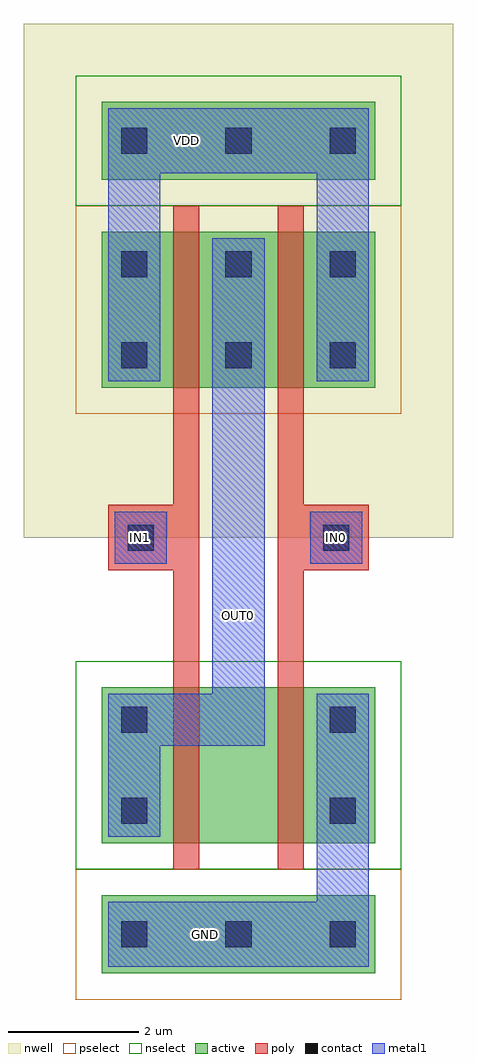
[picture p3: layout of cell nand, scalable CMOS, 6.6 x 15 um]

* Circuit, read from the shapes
.subckt nand GND IN0 IN1 OUT0 VDD
M1 n1 IN1 OUT0 GND nfet w=2.4u l=0.4u
M2 GND IN0 n1 GND nfet w=2.4u l=0.4u
M3 OUT0 IN1 VDD VDD pfet w=2.4u l=0.4u
M4 VDD IN0 OUT0 VDD pfet w=2.4u l=0.4u
.ends

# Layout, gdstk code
import gdstk
lib = gdstk.Library(unit=1e-6, precision=1e-09)
def R(c, l, rs):  # rectangles x0, y0, x1, y1
    for r in rs: c.add(gdstk.rectangle(r[:2], r[2:], *l))
def A(c, l, x, y, w, h, nx, ny, dx, dy):  # array of equal rectangles
    R(c, l, [(x+i*dx, y+j*dy, x+i*dx+w, y+j*dy+h) for i in range(nx) for j in range(ny)])
contact = (25, 0)
nwell = (42, 0)
active = (43, 0)
pselect = (44, 0)
nselect = (45, 0)
poly = (46, 0)
metal1 = (49, 0)

nand = lib.new_cell('nand')
A(nand, contact, -0.3, 2.2, 0.4, 0.4, 3, 2, 1.6, 1.4)
R(nand, contact, [(-0.3,-6.7,0.1,-6.3), (1.3,-6.7,1.7,-6.3), (1.3,-6.7,1.7,-6.3), (2.9,-6.7,3.3,-6.3), (-0.3,-4.8,0.1,-4.4), (2.9,-4.8,3.3,-4.4), (-0.3,-3.4,0.1,-3), (2.9,-3.4,3.3,-3), (-0.2,-0.6,0.2,-0.2), (2.8,-0.6,3.2,-0.2), (-0.3,5.5,0.1,5.9), (1.3,5.5,1.7,5.9), (1.3,5.5,1.7,5.9), (2.9,5.5,3.3,5.9)])
R(nand, nwell, [(-1.8,-0.4,3.2,7.5), (-0.2,-0.4,4.8,7.5)])
R(nand, active, [(-0.6,-7.1,2,-5.9), (1,-7.1,3.6,-5.9), (-0.6,-5.1,3.6,-2.7), (-0.6,1.9,2,4.3), (-0.6,1.9,2,4.3), (1,1.9,3.6,4.3), (-0.6,5.1,2,6.3), (1,5.1,3.6,6.3)])
R(nand, pselect, [(-1,-7.5,2.4,-5.5), (0.6,-7.5,4,-5.5), (-1,1.5,2.4,4.7), (0.6,1.5,4,4.7)])
R(nand, nselect, [(-1,-5.5,4,-2.3), (-1,4.7,2.4,6.7), (0.6,4.7,4,6.7)])
R(nand, poly, [(0.5,-5.5,0.9,-2.2), (2.1,-5.5,2.5,-2.2), (0.5,-2.2,0.9,1.5), (2.1,-2.2,2.5,1.5), (-0.5,-0.9,0.5,0.1), (2.5,-0.9,3.5,0.1), (0.5,1.5,0.9,4.7), (2.1,1.5,2.5,4.7)])
R(nand, metal1, [(-0.5,-7,2.5,-6), (0.5,-7,3.5,-6), (2.7,-7,3.5,-2.8), (-0.5,-5,0.3,-3.6), (-0.5,-3.6,1.9,-2.8), (1.1,-2.8,1.9,4.2), (-0.4,-0.8,0.4,0), (-0.4,-0.8,0.4,0), (2.6,-0.8,3.4,0), (2.6,-0.8,3.4,0), (-0.5,2,0.3,6.2), (2.7,2,3.5,6.2), (-0.5,5.2,2.5,6.2), (0.5,5.2,3.5,6.2)])
nand.add(gdstk.Label('VDD', (0.7,5.7), layer=75, texttype=0))
nand.add(gdstk.Label('OUT0', (1.5,-1.6), layer=75, texttype=0))
nand.add(gdstk.Label('IN0', (3,-0.4), layer=75, texttype=0))
nand.add(gdstk.Label('GND', (1,-6.5), layer=75, texttype=0))
nand.add(gdstk.Label('IN1', (0,-0.4), layer=75, texttype=0))

lib.write_gds('nand.gds')
